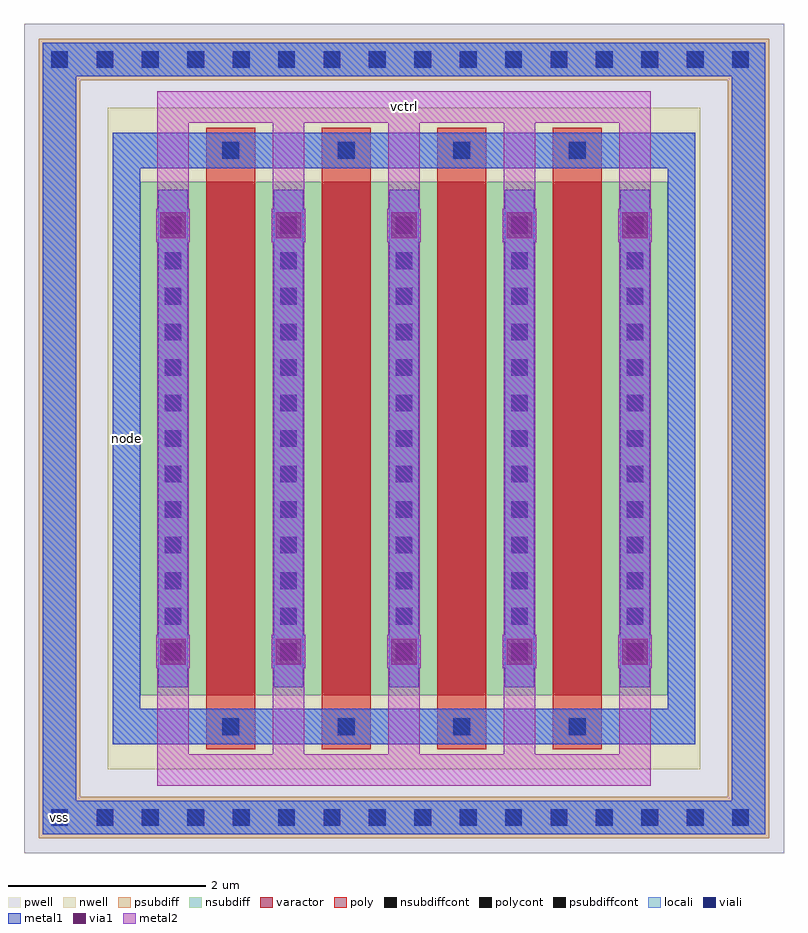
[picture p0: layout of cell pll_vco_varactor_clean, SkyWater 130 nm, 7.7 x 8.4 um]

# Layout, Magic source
magic
tech sky130A
magscale 1 2
<< pwell >>
rect 0 0 1540 1680
<< nwell >>
rect 170 170 1370 1510
<< nsubdiff >>
rect 236 320 1304 1360
<< poly >>
rect 369 210 469 1470
rect 603 210 703 1470
rect 837 210 937 1470
rect 1071 210 1171 1470
<< varactor >>
rect 369 320 469 1360
rect 603 320 703 1360
rect 837 320 937 1360
rect 1071 320 1171 1360
<< polycont >>
rect 402 239 436 273
rect 402 1407 436 1441
rect 636 239 670 273
rect 636 1407 670 1441
rect 870 239 904 273
rect 870 1407 904 1441
rect 1104 239 1138 273
rect 1104 1407 1138 1441
<< viali >>
rect 402 239 436 273
rect 402 1407 436 1441
rect 636 239 670 273
rect 636 1407 670 1441
rect 870 239 904 273
rect 870 1407 904 1441
rect 1104 239 1138 273
rect 1104 1407 1138 1441
rect 285 391 319 425
rect 285 463 319 497
rect 285 535 319 569
rect 285 607 319 641
rect 285 679 319 713
rect 285 751 319 785
rect 285 823 319 857
rect 285 895 319 929
rect 285 967 319 1001
rect 285 1039 319 1073
rect 285 1111 319 1145
rect 285 1183 319 1217
rect 285 1255 319 1289
rect 519 391 553 425
rect 519 463 553 497
rect 519 535 553 569
rect 519 607 553 641
rect 519 679 553 713
rect 519 751 553 785
rect 519 823 553 857
rect 519 895 553 929
rect 519 967 553 1001
rect 519 1039 553 1073
rect 519 1111 553 1145
rect 519 1183 553 1217
rect 519 1255 553 1289
rect 753 391 787 425
rect 753 463 787 497
rect 753 535 787 569
rect 753 607 787 641
rect 753 679 787 713
rect 753 751 787 785
rect 753 823 787 857
rect 753 895 787 929
rect 753 967 787 1001
rect 753 1039 787 1073
rect 753 1111 787 1145
rect 753 1183 787 1217
rect 753 1255 787 1289
rect 987 391 1021 425
rect 987 463 1021 497
rect 987 535 1021 569
rect 987 607 1021 641
rect 987 679 1021 713
rect 987 751 1021 785
rect 987 823 1021 857
rect 987 895 1021 929
rect 987 967 1021 1001
rect 987 1039 1021 1073
rect 987 1111 1021 1145
rect 987 1183 1021 1217
rect 987 1255 1021 1289
rect 1221 391 1255 425
rect 1221 463 1255 497
rect 1221 535 1255 569
rect 1221 607 1255 641
rect 1221 679 1255 713
rect 1221 751 1255 785
rect 1221 823 1255 857
rect 1221 895 1255 929
rect 1221 967 1255 1001
rect 1221 1039 1255 1073
rect 1221 1111 1255 1145
rect 1221 1183 1255 1217
rect 1221 1255 1255 1289
rect 55 55 89 89
rect 55 1591 89 1625
rect 147 55 181 89
rect 147 1591 181 1625
rect 239 55 273 89
rect 239 1591 273 1625
rect 331 55 365 89
rect 331 1591 365 1625
rect 423 55 457 89
rect 423 1591 457 1625
rect 515 55 549 89
rect 515 1591 549 1625
rect 607 55 641 89
rect 607 1591 641 1625
rect 699 55 733 89
rect 699 1591 733 1625
rect 791 55 825 89
rect 791 1591 825 1625
rect 883 55 917 89
rect 883 1591 917 1625
rect 975 55 1009 89
rect 975 1591 1009 1625
rect 1067 55 1101 89
rect 1067 1591 1101 1625
rect 1159 55 1193 89
rect 1159 1591 1193 1625
rect 1251 55 1285 89
rect 1251 1591 1285 1625
rect 1343 55 1377 89
rect 1343 1591 1377 1625
rect 1435 55 1469 89
rect 1435 1591 1469 1625
<< locali >>
rect 180 220 1360 292
rect 180 1388 1360 1460
rect 180 220 236 1460
rect 1304 220 1360 1460
rect 272 336 332 1344
rect 506 336 566 1344
rect 740 336 800 1344
rect 974 336 1034 1344
rect 1208 336 1268 1344
rect 38 38 1502 106
rect 38 1574 1502 1642
rect 38 38 106 1642
rect 1434 38 1502 1642
<< metal1 >>
rect 180 220 1360 292
rect 180 1388 1360 1460
rect 180 220 236 1460
rect 1304 220 1360 1460
rect 272 336 332 1344
rect 268 374 336 442
rect 268 1238 336 1306
rect 506 336 566 1344
rect 502 374 570 442
rect 502 1238 570 1306
rect 740 336 800 1344
rect 736 374 804 442
rect 736 1238 804 1306
rect 974 336 1034 1344
rect 970 374 1038 442
rect 970 1238 1038 1306
rect 1208 336 1268 1344
rect 1204 374 1272 442
rect 1204 1238 1272 1306
rect 38 38 1502 106
rect 38 1574 1502 1642
rect 38 38 106 1642
rect 1434 38 1502 1642
<< nsubdiffcont >>
rect 285 391 319 425
rect 285 463 319 497
rect 285 535 319 569
rect 285 607 319 641
rect 285 679 319 713
rect 285 751 319 785
rect 285 823 319 857
rect 285 895 319 929
rect 285 967 319 1001
rect 285 1039 319 1073
rect 285 1111 319 1145
rect 285 1183 319 1217
rect 285 1255 319 1289
rect 519 391 553 425
rect 519 463 553 497
rect 519 535 553 569
rect 519 607 553 641
rect 519 679 553 713
rect 519 751 553 785
rect 519 823 553 857
rect 519 895 553 929
rect 519 967 553 1001
rect 519 1039 553 1073
rect 519 1111 553 1145
rect 519 1183 553 1217
rect 519 1255 553 1289
rect 753 391 787 425
rect 753 463 787 497
rect 753 535 787 569
rect 753 607 787 641
rect 753 679 787 713
rect 753 751 787 785
rect 753 823 787 857
rect 753 895 787 929
rect 753 967 787 1001
rect 753 1039 787 1073
rect 753 1111 787 1145
rect 753 1183 787 1217
rect 753 1255 787 1289
rect 987 391 1021 425
rect 987 463 1021 497
rect 987 535 1021 569
rect 987 607 1021 641
rect 987 679 1021 713
rect 987 751 1021 785
rect 987 823 1021 857
rect 987 895 1021 929
rect 987 967 1021 1001
rect 987 1039 1021 1073
rect 987 1111 1021 1145
rect 987 1183 1021 1217
rect 987 1255 1021 1289
rect 1221 391 1255 425
rect 1221 463 1255 497
rect 1221 535 1255 569
rect 1221 607 1255 641
rect 1221 679 1255 713
rect 1221 751 1255 785
rect 1221 823 1255 857
rect 1221 895 1255 929
rect 1221 967 1255 1001
rect 1221 1039 1255 1073
rect 1221 1111 1255 1145
rect 1221 1183 1255 1217
rect 1221 1255 1255 1289
<< via1 >>
rect 276 382 328 434
rect 276 1246 328 1298
rect 510 382 562 434
rect 510 1246 562 1298
rect 744 382 796 434
rect 744 1246 796 1298
rect 978 382 1030 434
rect 978 1246 1030 1298
rect 1212 382 1264 434
rect 1212 1246 1264 1298
<< metal2 >>
rect 268 374 336 442
rect 268 1238 336 1306
rect 270 136 334 1544
rect 502 374 570 442
rect 502 1238 570 1306
rect 504 136 568 1544
rect 736 374 804 442
rect 736 1238 804 1306
rect 738 136 802 1544
rect 970 374 1038 442
rect 970 1238 1038 1306
rect 972 136 1036 1544
rect 1204 374 1272 442
rect 1204 1238 1272 1306
rect 1206 136 1270 1544
rect 270 136 1270 200
rect 270 1480 1270 1544
<< psubdiff >>
rect 30 30 1510 114
rect 30 1566 1510 1650
rect 30 30 114 1650
rect 1426 30 1510 1650
<< psubdiffcont >>
rect 55 55 89 89
rect 55 1591 89 1625
rect 147 55 181 89
rect 147 1591 181 1625
rect 239 55 273 89
rect 239 1591 273 1625
rect 331 55 365 89
rect 331 1591 365 1625
rect 423 55 457 89
rect 423 1591 457 1625
rect 515 55 549 89
rect 515 1591 549 1625
rect 607 55 641 89
rect 607 1591 641 1625
rect 699 55 733 89
rect 699 1591 733 1625
rect 791 55 825 89
rect 791 1591 825 1625
rect 883 55 917 89
rect 883 1591 917 1625
rect 975 55 1009 89
rect 975 1591 1009 1625
rect 1067 55 1101 89
rect 1067 1591 1101 1625
rect 1159 55 1193 89
rect 1159 1591 1193 1625
rect 1251 55 1285 89
rect 1251 1591 1285 1625
rect 1343 55 1377 89
rect 1343 1591 1377 1625
rect 1435 55 1469 89
rect 1435 1591 1469 1625
<< labels >>
rlabel metal1 208 840 208 840 0 node
port 1 nsew
rlabel metal2 770 1512 770 1512 0 vctrl
port 2 nsew
rlabel metal1 72 72 72 72 0 vss
port 3 nsew
<< end >>
